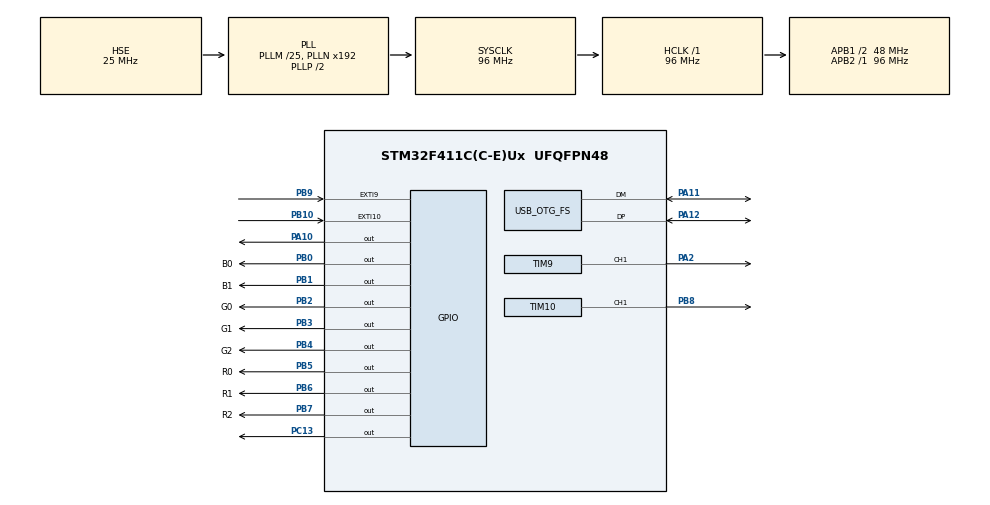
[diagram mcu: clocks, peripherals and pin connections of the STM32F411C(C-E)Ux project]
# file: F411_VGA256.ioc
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Dma.Request0=TIM1_UP
Dma.TIM1_UP.0.Direction=DMA_MEMORY_TO_PERIPH
Dma.TIM1_UP.0.FIFOMode=DMA_FIFOMODE_DISABLE
Dma.TIM1_UP.0.Instance=DMA2_Stream5
Dma.TIM1_UP.0.MemDataAlignment=DMA_MDATAALIGN_BYTE
Dma.TIM1_UP.0.MemInc=DMA_MINC_ENABLE
Dma.TIM1_UP.0.Mode=DMA_CIRCULAR
Dma.TIM1_UP.0.PeriphDataAlignment=DMA_PDATAALIGN_BYTE
Dma.TIM1_UP.0.PeriphInc=DMA_PINC_DISABLE
Dma.TIM1_UP.0.Priority=DMA_PRIORITY_VERY_HIGH
Mcu.Family=STM32F4
Mcu.Name=STM32F411C(C-E)Ux
Mcu.Package=UFQFPN48
NVIC.DMA2_Stream5_IRQn=true\:0\:0\:false\:false\:true\:false\:true\:true
NVIC.EXTI15_10_IRQn=true\:0\:0\:false\:false\:true\:true\:true\:true
NVIC.EXTI9_5_IRQn=true\:0\:0\:false\:false\:true\:true\:true\:true
NVIC.OTG_FS_IRQn=true\:0\:0\:false\:false\:true\:false\:true\:true
NVIC.PriorityGroup=NVIC_PRIORITYGROUP_4
NVIC.TIM1_BRK_TIM9_IRQn=true\:0\:0\:false\:false\:true\:true\:true\:true
PA10.Signal=GPIO_Output
PA11.Mode=Host_Only
PA11.Signal=USB_OTG_FS_DM
PA12.Mode=Host_Only
PA12.Signal=USB_OTG_FS_DP
PA13.Mode=Serial_Wire
PA13.Signal=SYS_JTMS-SWDIO
PA14.Mode=Serial_Wire
PA14.Signal=SYS_JTCK-SWCLK
PA2.Signal=S_TIM9_CH1
PB0.GPIO_Label=B0
PB0.GPIO_Speed=GPIO_SPEED_FREQ_VERY_HIGH
PB0.Signal=GPIO_Output
PB1.GPIO_Label=B1
PB1.GPIO_Speed=GPIO_SPEED_FREQ_VERY_HIGH
PB1.Signal=GPIO_Output
PB10.GPIO_PuPd=GPIO_PULLUP
PB10.Signal=GPXTI10
PB2.GPIO_Label=G0
PB2.GPIO_Speed=GPIO_SPEED_FREQ_VERY_HIGH
PB2.Signal=GPIO_Output
PB3.GPIO_Label=G1
PB3.GPIO_Speed=GPIO_SPEED_FREQ_VERY_HIGH
PB3.Signal=GPIO_Output
PB4.GPIO_Label=G2
PB4.GPIO_Speed=GPIO_SPEED_FREQ_VERY_HIGH
PB4.Signal=GPIO_Output
PB5.GPIO_Label=R0
PB5.GPIO_Speed=GPIO_SPEED_FREQ_VERY_HIGH
PB5.Signal=GPIO_Output
PB6.GPIO_Label=R1
PB6.GPIO_Speed=GPIO_SPEED_FREQ_VERY_HIGH
PB6.Signal=GPIO_Output
PB7.GPIO_Label=R2
PB7.GPIO_Speed=GPIO_SPEED_FREQ_VERY_HIGH
PB7.Signal=GPIO_Output
PB8.Signal=S_TIM10_CH1
PB9.GPIO_PuPd=GPIO_PULLUP
PB9.Signal=GPXTI9
PC13-ANTI_TAMP.Signal=GPIO_Output
PH0\ -\ OSC_IN.Mode=HSE-External-Oscillator
PH0\ -\ OSC_IN.Signal=RCC_OSC_IN
PH1\ -\ OSC_OUT.Mode=HSE-External-Oscillator
PH1\ -\ OSC_OUT.Signal=RCC_OSC_OUT
ProjectManager.HeapSize=0x200
ProjectManager.StackSize=0x400
ProjectManager.TargetToolchain=STM32CubeIDE
RCC.48MHZClocksFreq_Value=48000000
RCC.AHBFreq_Value=96000000
RCC.APB1CLKDivider=RCC_HCLK_DIV2
RCC.APB1Freq_Value=48000000
RCC.APB1TimFreq_Value=96000000
RCC.APB2Freq_Value=96000000
RCC.APB2TimFreq_Value=96000000
RCC.CortexFreq_Value=96000000
RCC.HCLKFreq_Value=96000000
RCC.HSE_VALUE=25000000
RCC.HSI_VALUE=16000000
RCC.LSE_VALUE=32768
RCC.PLLM=25
RCC.SYSCLKFreq_VALUE=96000000
RCC.SYSCLKSource=RCC_SYSCLKSOURCE_PLLCLK
RCC.VCOOutputFreq_Value=192000000
SH.S_TIM10_CH1.0=TIM10_CH1,PWM Generation1 CH1
SH.S_TIM9_CH1.0=TIM9_CH1,PWM Generation1 CH1
TIM1.AutoReloadPreload=TIM_AUTORELOAD_PRELOAD_ENABLE
TIM1.Period=4-1
TIM1.Prescaler=4-1
TIM1.RepetitionCounter=0
TIM1.TIM_MasterOutputTrigger=TIM_TRGO_UPDATE
TIM10.AutoReloadPreload=TIM_AUTORELOAD_PRELOAD_ENABLE
TIM10.Channel=TIM_CHANNEL_1
TIM10.OCFastMode_PWM=TIM_OCFAST_ENABLE
TIM10.OCMode_PWM=TIM_OCMODE_PWM1
TIM10.OCPolarity_1=TIM_OCPOLARITY_HIGH
TIM10.Period=800-1
TIM10.Prescaler=4-1
TIM10.Pulse=96-1
TIM9.AutoReloadPreload=TIM_AUTORELOAD_PRELOAD_ENABLE
TIM9.Channel-PWM\ Generation1\ CH1=TIM_CHANNEL_1
TIM9.OCFastMode_PWM-PWM\ Generation1\ CH1=TIM_OCFAST_ENABLE
TIM9.OCMode_PWM-PWM\ Generation1\ CH1=TIM_OCMODE_PWM1
TIM9.OCPolarity_1=TIM_OCPOLARITY_HIGH
TIM9.Period=525-2
TIM9.Prescaler=0
TIM9.Pulse-PWM\ Generation1\ CH1=2
USB_HOST.BSP.number=1
USB_HOST.USBH_HandleTypeDef=hUsbHostFS
USB_HOST.VirtualModeFS=Hid
USB_HOST0.BSP.STBoard=false
USB_HOST0.BSP.api=Unknown
USB_HOST0.BSP.instance=PA10
USB_HOST0.BSP.ip=GPIO
USB_HOST0.BSP.mode=Output
USB_HOST0.BSP.name=Drive_VBUS_FS
USB_HOST0.BSP.solution=PA10
USB_OTG_FS.VirtualMode=Host_Only
USB_OTG_FS.phy_itface=HCD_PHY_EMBEDDED
USB_OTG_FS.speed=HCD_SPEED_LOW
VP_TIM10_VS_ClockSourceINT.Mode=Enable_Timer
VP_TIM1_VS_ClockSourceINT.Mode=Internal
VP_TIM9_VS_ClockSourceITR.Mode=TriggerSource_ITR2
VP_TIM9_VS_ControllerModeClock.Mode=Clock Mode
VP_USB_HOST_VS_USB_HOST_HID_FS.Mode=HID_FS
board=custom

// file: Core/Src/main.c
/* USER CODE BEGIN Header */
/**
  ******************************************************************************
  * @file           : main.c
  * @brief          : Main program body
  ******************************************************************************
  * @attention
  *
  * Copyright (c) 2023 STMicroelectronics.
  * All rights reserved.
  *
  * This software is licensed under terms that can be found in the LICENSE file
  * in the root directory of this software component.
  * If no LICENSE file comes with this software, it is provided AS-IS.
  *
  ******************************************************************************
  */
/* USER CODE END Header */
#include "main.h"
#include "usb_host.h"

/* USER CODE BEGIN Includes */
#include "usbh_hid.h"
#include <stdio.h>
#include <stdlib.h>
#include <string.h>
#include "vga256.h"
#include "flower160.h"
#include "color160.h"
#include "rgb160.h"
/* USER CODE END Includes */

TIM_HandleTypeDef htim1;
TIM_HandleTypeDef htim9;
TIM_HandleTypeDef htim10;
DMA_HandleTypeDef hdma_tim1_up;

/* USER CODE BEGIN PV */
uint16_t VOFFSET=0;
uint16_t vga_stop=0;
int16_t line=0;
uint16_t firstTrig=1;

uint16_t vga_voff[8];
uint32_t GPIOB_ODR;

char kBuffer[16];
int kBin=0;
int kBout=0;
char msg[64];
/* USER CODE END PV */

void SystemClock_Config(void);
static void MX_GPIO_Init(void);
static void MX_DMA_Init(void);
static void MX_TIM10_Init(void);
static void MX_TIM9_Init(void);
static void MX_TIM1_Init(void);
void MX_USB_HOST_Process(void);

/* USER CODE BEGIN PFP */
extern void tetris();
/* USER CODE END PFP */

/* USER CODE BEGIN 0 */

void VGA_update(){
	vga_voff[0] = VOFFSET;
	for(int i=1;i<8;i++)
	   vga_voff[i]=vga_voff[i-1]+VGA_LBUFFERSIZE;
}

void HAL_GPIO_EXTI_Callback (uint16_t GPIO_Pin){
	if(GPIO_Pin==GPIO_PIN_9){
		if(VOFFSET>0)VOFFSET-=1;
		vga_stop=1;
		VGA_update();
	}
	else if(GPIO_Pin==GPIO_PIN_10){
		if(VOFFSET<(VGA_LBUFFERSIZE-VGA_WIDTH))VOFFSET+=1;
		vga_stop=1;
		VGA_update();
	}
	   sprintf(msg,"%d ",VOFFSET);
	   SetCursor(3,50);
	   WriteString(msg,Font_7x10,VGA_WHITE);

}

void HAL_TIM_PeriodElapsedCallback(TIM_HandleTypeDef* htim)
{
     if(htim==&htim9){
		line=-14;
		if(firstTrig){
			if(
            HAL_DMA_Start_IT(&hdma_tim1_up,(uint32_t)VGA_obuffer,GPIOB_ODR,VGA_FULL)
			!= HAL_OK){
				while(1){
					HAL_GPIO_TogglePin(GPIOC,GPIO_PIN_13);
					HAL_Delay(1000);
				}
			}
			firstTrig=0;
		}
	}
}

static void DMA_HalfCpltCallback(DMA_HandleTypeDef *hdma){
     //fill in line1
	if((line<0)||(line>=VGA_VBUFFER)){
		memset((uint8_t *)VGA_obuffer,0,VGA_FULL);
	}else{
		for(int i=0;i<4;i++)
			memcpy((uint8_t *)VGA_obuffer + vga_voff[i],VGA_buffer[line],VGA_LBUFFER);
	}
	line++;
	if(vga_stop){
		HAL_DMA_Abort_IT(&hdma_tim1_up);
		firstTrig=1;
		vga_stop=0;
		VGA_update();
	}
}

static void DMA_CpltCallback(DMA_HandleTypeDef *hdma){
    //fill in line2 (later half)
	if((line<0)||(line>=VGA_VBUFFER)){
		memset((uint8_t *)VGA_obuffer,0,VGA_FULL);
	}else{
		for(int i=4;i<8;i++)
			memcpy((uint8_t *)VGA_obuffer + vga_voff[i],VGA_buffer[line],VGA_LBUFFER);
	}
	line++;
	if(vga_stop){
		HAL_DMA_Abort_IT(&hdma_tim1_up);
		firstTrig=1;
		vga_stop=0;
		VGA_update();
	}
}

void USBH_HID_EventCallback(USBH_HandleTypeDef *phost){
	if(USBH_HID_GetDeviceType(phost) == HID_KEYBOARD){
		HID_KEYBD_Info_TypeDef *Keyboard_Info;
		Keyboard_Info = USBH_HID_GetKeybdInfo(phost);
		uint8_t key = USBH_HID_GetASCIICode(Keyboard_Info);
		if(key==0)return;
		if(((kBin+1)&0xf)==kBout)return;
		kBuffer[kBin]=key;
		kBin=(kBin+1)&0xf;
		HAL_GPIO_TogglePin(GPIOC,GPIO_PIN_13);
	}
}

extern uint8_t getch(char *ch){
	for(int i=0;i<10;i++){
	   MX_USB_HOST_Process();
	   HAL_Delay(2);
	}
	if(kBin==kBout) return 0;
	*ch = kBuffer[kBout];
	kBout = (kBout+1)&0xf;
	return 1;
}

extern void tetrisDelay(int ms){
	HAL_Delay(ms);
}

extern uint32_t tetrisSeed(){
	return TIM1->CNT+TIM9->CNT+TIM10->CNT;
}
/* USER CODE END 0 */

int main(void)
{

  /* MCU Configuration--------------------------------------------------------*/

  /* Reset of all peripherals, Initializes the Flash interface and the Systick. */
  HAL_Init();

  /* Configure the system clock */
  SystemClock_Config();

  /* Initialize all configured peripherals */
  MX_GPIO_Init();
  MX_DMA_Init();
  MX_TIM10_Init();
  MX_TIM9_Init();
  MX_TIM1_Init();
  MX_USB_HOST_Init();
  /* USER CODE BEGIN 2 */
  HAL_DMA_Abort(&hdma_tim1_up);
  if(
  	  HAL_DMA_RegisterCallback(&hdma_tim1_up,HAL_DMA_XFER_HALFCPLT_CB_ID,DMA_HalfCpltCallback)
  	  !=HAL_OK){
  	  while(1){
  		  HAL_GPIO_TogglePin(GPIOC,GPIO_PIN_13);
  		  HAL_Delay(500);
  	  }
  }
  if(
        HAL_DMA_RegisterCallback(&hdma_tim1_up,HAL_DMA_XFER_CPLT_CB_ID,DMA_CpltCallback)
        !=HAL_OK){
  	  while(1){
  		  HAL_GPIO_TogglePin(GPIOC,GPIO_PIN_13);
  		  HAL_Delay(250);
  	  }
  }
  VGA_update();
  GPIOB_ODR = (uint32_t)&(GPIOB->ODR);
  HAL_TIM_Base_Start_IT(&htim9);
  HAL_TIM_PWM_Start(&htim9,TIM_CHANNEL_1);

  HAL_TIM_Base_Start_IT(&htim10);
  HAL_TIM_PWM_Start(&htim10,TIM_CHANNEL_1);

  __HAL_DMA_ENABLE_IT(&hdma_tim1_up,DMA_IT_TC);
  __HAL_DMA_ENABLE_IT(&hdma_tim1_up,DMA_IT_HT);
  __HAL_TIM_ENABLE_DMA(&htim1, TIM_DMA_UPDATE);

  HAL_TIM_Base_Start(&htim1);

  HAL_Delay(100);
  vga_stop=1;

  ClearScreen(VGA_BLACK);
  DrawRectangle(0,0,VGA_WIDTH-1,VGA_HEIGHT-1,VGA_WHITE);
  char msg[32]="Testing";
  SetCursor(3,3);
  WriteString(msg,Font_7x10,VGA_GREEN);

  /* USER CODE END 2 */

  /* Infinite loop */
  /* USER CODE BEGIN WHILE */
  int r,x,y,w,h,z=0,c;
  while (1)
  {
	  char cc;
//	  MX_USB_HOST_Process();
//	  continue;
	  r = rand()%50;
	  x = rand()%VGA_WIDTH;
	  y = rand()%VGA_HEIGHT;
	  c = rand()%256;
	  DrawCircle(x,y,r,c);
	  r = rand()%50;
	  x = rand()%VGA_WIDTH;
	  y = rand()%VGA_HEIGHT;
	  c = rand()%256;
	  FillCircle(x,y,r,c);
	  x = rand()%VGA_WIDTH;
	  y = rand()%VGA_HEIGHT;
	  w = rand()%50;
	  h = rand()%50;
	  c = rand()%256;
	  DrawRectangle(x,y,x+w,y+h,c);
	  x = rand()%VGA_WIDTH;
	  y = rand()%VGA_HEIGHT;
	  w = rand()%50;
	  h = rand()%50;
	  c = rand()%256;
	  FillRectangle(x,y,w,h,c);

	  if(getch(&cc)){
		FillRectangle(VGA_WIDTH-100,0,VGA_WIDTH-1,20,VGA_BLACK);
		sprintf(msg,"KEY:%d:%c",cc,cc);
		SetCursor(VGA_WIDTH-100,5);
		WriteString(msg,Font_7x10,VGA_GREEN);
	  }
	  z=z+1;
	  if(z>=100){
		  /////////
		  ClearScreen(VGA_BLACK);
		  ShowImage((uint8_t *)color,160,120,0,0);
		  HAL_Delay(5000);
		  ShowImage((uint8_t *)flower,160,101,0,0);
		  HAL_Delay(5000);
		  ShowImage((uint8_t *)rgb,160,120,0,0);
		  HAL_Delay(5000);

		  tetris();
		  //////////
		  z=0;
		  ClearScreen(VGA_BLACK);
		  HAL_Delay(100);
		  vga_stop=1;
		  sprintf(msg,"Testing");
		  DrawRectangle(0,0,VGA_WIDTH-1,VGA_HEIGHT-1,VGA_WHITE);
		  SetCursor(3,3);
		  WriteString(msg,Font_7x10,VGA_GREEN);
		  sprintf(msg,"%d ",VOFFSET);
		  SetCursor(3,50);
		  WriteString(msg,Font_7x10,VGA_WHITE);
	  }
	  HAL_Delay(100);
    /* USER CODE END WHILE */
    MX_USB_HOST_Process();

  }
}

void SystemClock_Config(void)
{
  RCC_OscInitTypeDef RCC_OscInitStruct = {0};
  RCC_ClkInitTypeDef RCC_ClkInitStruct = {0};

  /** Configure the main internal regulator output voltage
  */
  __HAL_RCC_PWR_CLK_ENABLE();
  __HAL_PWR_VOLTAGESCALING_CONFIG(PWR_REGULATOR_VOLTAGE_SCALE1);

  /** Initializes the RCC Oscillators according to the specified parameters
  * in the RCC_OscInitTypeDef structure.
  */
  RCC_OscInitStruct.OscillatorType = RCC_OSCILLATORTYPE_HSE;
  RCC_OscInitStruct.HSEState = RCC_HSE_ON;
  RCC_OscInitStruct.PLL.PLLState = RCC_PLL_ON;
  RCC_OscInitStruct.PLL.PLLSource = RCC_PLLSOURCE_HSE;
  RCC_OscInitStruct.PLL.PLLM = 25;
  RCC_OscInitStruct.PLL.PLLN = 192;
  RCC_OscInitStruct.PLL.PLLP = RCC_PLLP_DIV2;
  RCC_OscInitStruct.PLL.PLLQ = 4;
  if (HAL_RCC_OscConfig(&RCC_OscInitStruct) != HAL_OK)
  {
    Error_Handler();
  }

  /** Initializes the CPU, AHB and APB buses clocks
  */
  RCC_ClkInitStruct.ClockType = RCC_CLOCKTYPE_HCLK|RCC_CLOCKTYPE_SYSCLK
                              |RCC_CLOCKTYPE_PCLK1|RCC_CLOCKTYPE_PCLK2;
  RCC_ClkInitStruct.SYSCLKSource = RCC_SYSCLKSOURCE_PLLCLK;
  RCC_ClkInitStruct.AHBCLKDivider = RCC_SYSCLK_DIV1;
  RCC_ClkInitStruct.APB1CLKDivider = RCC_HCLK_DIV2;
  RCC_ClkInitStruct.APB2CLKDivider = RCC_HCLK_DIV1;

  if (HAL_RCC_ClockConfig(&RCC_ClkInitStruct, FLASH_LATENCY_3) != HAL_OK)
  {
    Error_Handler();
  }
}

static void MX_TIM1_Init(void)
{

  TIM_ClockConfigTypeDef sClockSourceConfig = {0};
  TIM_MasterConfigTypeDef sMasterConfig = {0};

  htim1.Instance = TIM1;
  htim1.Init.Prescaler = 4-1;
  htim1.Init.CounterMode = TIM_COUNTERMODE_UP;
  htim1.Init.Period = 4-1;
  htim1.Init.ClockDivision = TIM_CLOCKDIVISION_DIV1;
  htim1.Init.RepetitionCounter = 0;
  htim1.Init.AutoReloadPreload = TIM_AUTORELOAD_PRELOAD_ENABLE;
  if (HAL_TIM_Base_Init(&htim1) != HAL_OK)
  {
    Error_Handler();
  }
  sClockSourceConfig.ClockSource = TIM_CLOCKSOURCE_INTERNAL;
  if (HAL_TIM_ConfigClockSource(&htim1, &sClockSourceConfig) != HAL_OK)
  {
    Error_Handler();
  }
  sMasterConfig.MasterOutputTrigger = TIM_TRGO_UPDATE;
  sMasterConfig.MasterSlaveMode = TIM_MASTERSLAVEMODE_DISABLE;
  if (HAL_TIMEx_MasterConfigSynchronization(&htim1, &sMasterConfig) != HAL_OK)
  {
    Error_Handler();
  }

}

static void MX_TIM9_Init(void)
{

  TIM_SlaveConfigTypeDef sSlaveConfig = {0};
  TIM_OC_InitTypeDef sConfigOC = {0};

  htim9.Instance = TIM9;
  htim9.Init.Prescaler = 0;
  htim9.Init.CounterMode = TIM_COUNTERMODE_UP;
  htim9.Init.Period = 525-2;
  htim9.Init.ClockDivision = TIM_CLOCKDIVISION_DIV1;
  htim9.Init.AutoReloadPreload = TIM_AUTORELOAD_PRELOAD_ENABLE;
  if (HAL_TIM_Base_Init(&htim9) != HAL_OK)
  {
    Error_Handler();
  }
  if (HAL_TIM_PWM_Init(&htim9) != HAL_OK)
  {
    Error_Handler();
  }
  sSlaveConfig.SlaveMode = TIM_SLAVEMODE_EXTERNAL1;
  sSlaveConfig.InputTrigger = TIM_TS_ITR2;
  if (HAL_TIM_SlaveConfigSynchro(&htim9, &sSlaveConfig) != HAL_OK)
  {
    Error_Handler();
  }
  sConfigOC.OCMode = TIM_OCMODE_PWM1;
  sConfigOC.Pulse = 2;
  sConfigOC.OCPolarity = TIM_OCPOLARITY_HIGH;
  sConfigOC.OCFastMode = TIM_OCFAST_ENABLE;
  if (HAL_TIM_PWM_ConfigChannel(&htim9, &sConfigOC, TIM_CHANNEL_1) != HAL_OK)
  {
    Error_Handler();
  }
  HAL_TIM_MspPostInit(&htim9);

}

static void MX_TIM10_Init(void)
{

  TIM_OC_InitTypeDef sConfigOC = {0};

  htim10.Instance = TIM10;
  htim10.Init.Prescaler = 4-1;
  htim10.Init.CounterMode = TIM_COUNTERMODE_UP;
  htim10.Init.Period = 800-1;
  htim10.Init.ClockDivision = TIM_CLOCKDIVISION_DIV1;
  htim10.Init.AutoReloadPreload = TIM_AUTORELOAD_PRELOAD_ENABLE;
  if (HAL_TIM_Base_Init(&htim10) != HAL_OK)
  {
    Error_Handler();
  }
  if (HAL_TIM_PWM_Init(&htim10) != HAL_OK)
  {
    Error_Handler();
  }
  sConfigOC.OCMode = TIM_OCMODE_PWM1;
  sConfigOC.Pulse = 96-1;
  sConfigOC.OCPolarity = TIM_OCPOLARITY_HIGH;
  sConfigOC.OCFastMode = TIM_OCFAST_ENABLE;
  if (HAL_TIM_PWM_ConfigChannel(&htim10, &sConfigOC, TIM_CHANNEL_1) != HAL_OK)
  {
    Error_Handler();
  }
  HAL_TIM_MspPostInit(&htim10);

}

static void MX_DMA_Init(void)
{

  /* DMA controller clock enable */
  __HAL_RCC_DMA2_CLK_ENABLE();

  /* DMA interrupt init */
  /* DMA2_Stream5_IRQn interrupt configuration */
  HAL_NVIC_SetPriority(DMA2_Stream5_IRQn, 0, 0);
  HAL_NVIC_EnableIRQ(DMA2_Stream5_IRQn);

}

static void MX_GPIO_Init(void)
{
  GPIO_InitTypeDef GPIO_InitStruct = {0};

  /* GPIO Ports Clock Enable */
  __HAL_RCC_GPIOC_CLK_ENABLE();
  __HAL_RCC_GPIOH_CLK_ENABLE();
  __HAL_RCC_GPIOA_CLK_ENABLE();
  __HAL_RCC_GPIOB_CLK_ENABLE();

  /*Configure GPIO pin Output Level */
  HAL_GPIO_WritePin(GPIOC, GPIO_PIN_13, GPIO_PIN_RESET);

  /*Configure GPIO pin Output Level */
  HAL_GPIO_WritePin(GPIOB, B0_Pin|B1_Pin|G0_Pin|G1_Pin
                          |G2_Pin|R0_Pin|R1_Pin|R2_Pin, GPIO_PIN_RESET);

  /*Configure GPIO pin Output Level */
  HAL_GPIO_WritePin(GPIOA, GPIO_PIN_10, GPIO_PIN_RESET);

  /*Configure GPIO pin : PC13 */
  GPIO_InitStruct.Pin = GPIO_PIN_13;
  GPIO_InitStruct.Mode = GPIO_MODE_OUTPUT_PP;
  GPIO_InitStruct.Pull = GPIO_NOPULL;
  GPIO_InitStruct.Speed = GPIO_SPEED_FREQ_LOW;
  HAL_GPIO_Init(GPIOC, &GPIO_InitStruct);

  /*Configure GPIO pins : B0_Pin B1_Pin G0_Pin G1_Pin
                           G2_Pin R0_Pin R1_Pin R2_Pin */
  GPIO_InitStruct.Pin = B0_Pin|B1_Pin|G0_Pin|G1_Pin
                          |G2_Pin|R0_Pin|R1_Pin|R2_Pin;
  GPIO_InitStruct.Mode = GPIO_MODE_OUTPUT_PP;
  GPIO_InitStruct.Pull = GPIO_NOPULL;
  GPIO_InitStruct.Speed = GPIO_SPEED_FREQ_VERY_HIGH;
  HAL_GPIO_Init(GPIOB, &GPIO_InitStruct);

  /*Configure GPIO pins : PB10 PB9 */
  GPIO_InitStruct.Pin = GPIO_PIN_10|GPIO_PIN_9;
  GPIO_InitStruct.Mode = GPIO_MODE_IT_RISING;
  GPIO_InitStruct.Pull = GPIO_PULLUP;
  HAL_GPIO_Init(GPIOB, &GPIO_InitStruct);

  /*Configure GPIO pin : PA10 */
  GPIO_InitStruct.Pin = GPIO_PIN_10;
  GPIO_InitStruct.Mode = GPIO_MODE_OUTPUT_PP;
  GPIO_InitStruct.Pull = GPIO_NOPULL;
  GPIO_InitStruct.Speed = GPIO_SPEED_FREQ_LOW;
  HAL_GPIO_Init(GPIOA, &GPIO_InitStruct);

  /* EXTI interrupt init*/
  HAL_NVIC_SetPriority(EXTI9_5_IRQn, 0, 0);
  HAL_NVIC_EnableIRQ(EXTI9_5_IRQn);

  HAL_NVIC_SetPriority(EXTI15_10_IRQn, 0, 0);
  HAL_NVIC_EnableIRQ(EXTI15_10_IRQn);

}

void Error_Handler(void)
{
  __disable_irq();
  while (1)
  {
  }
}
